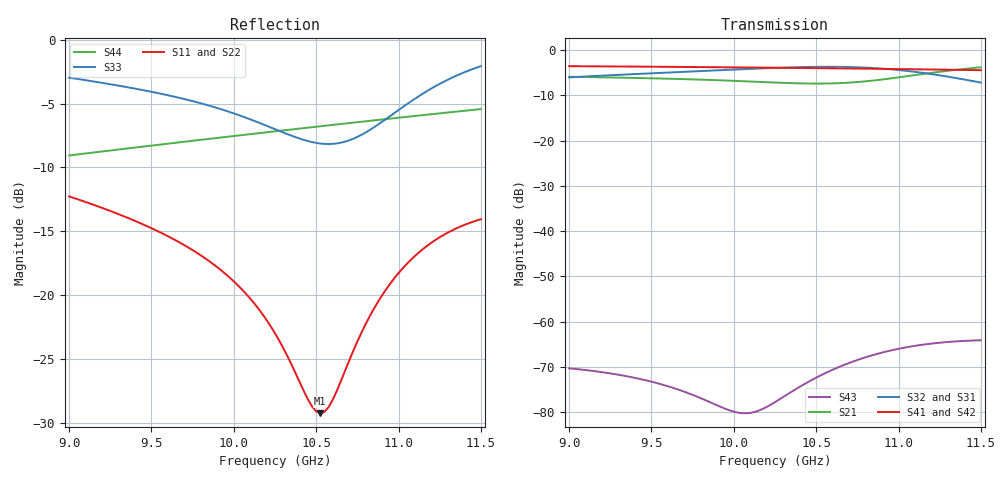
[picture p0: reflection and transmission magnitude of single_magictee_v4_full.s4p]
! Generated from PyAEDT SolutionData; AEDT ExportNetworkData workaround
# GHz S MA R 50
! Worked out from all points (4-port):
!   101 points, 9 GHz to 11.5 GHz, reference 50 ohm
!   strongest paths, dB at 9 GHz, 9.625 GHz, 10.25 GHz, 10.88 GHz, 11.5 GHz:
!     S41: -3.6, -3.7, -3.9, -4.2, -4.5
!     S42: -3.6, -3.7, -3.9, -4.2, -4.5
!     S32: -6.1, -5.0, -4.0, -4.1, -7.2
!     S31: -6.1, -5.0, -4.0, -4.1, -7.2
!     S21: -5.9, -6.4, -7.2, -6.6, -3.8
!     S43: -70.3, -74.5, -77.8, -67.1, -64.1
!   lowest |S11| = -29.2 dB at 10.53 GHz (marker M1), VSWR 1.07, Z = 47.5 - j2.22 ohm
!   |S11| at or under -10 dB: start of sweep to end of sweep
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9  0.2436 137.7  0.5051 177.0  0.4976 -86.9  0.6618 44.9
   0.5051 177.0  0.2436 137.6  0.4977 -86.9  0.6617 -135.1
   0.4976 -86.9  0.4977 -86.9  0.7104 -158.2  0.0003053 -75.7
   0.6618 44.9  0.6617 -135.1  0.0003053 -75.7  0.3524 -113.1
9.4  0.1954 88.0  0.4903 133.0  0.5411 -158.0  0.6547 -0.7
     0.4903 133.0  0.1957 87.9  0.5413 -158.0  0.6544 179.3
     0.5411 -158.0  0.5413 -158.0  0.6436 103.4  0.0002395 -159.5
     0.6547 -0.7  0.6544 179.3  0.0002395 -159.5  0.3784 -155.9
9.775  0.1467 39.3  0.4713 93.8  0.5811 135.7  0.6471 -42.1
       0.4713 93.8  0.1471 39.4  0.5815 135.7  0.6466 137.9
       0.5811 135.7  0.5815 135.7  0.5694 9.7  0.0001492 133.3
       0.6471 -42.1  0.6466 137.9  0.0001492 133.3  0.4039 164.7
10.125  0.09274 -13.7  0.4461 59.9  0.6197 73.0  0.6391 -79.8
        0.4461 59.9  0.09289 -13.3  0.6202 73.0  0.6385 100.2
        0.6197 73.0  0.6202 73.0  0.4809 -83.2  0.0001006 117.9
        0.6391 -79.8  0.6385 100.2  0.0001006 117.9  0.4288 128.5
10.525  0.0345 -137.5  0.4253 27.2  0.6501 -1.6  0.6288 -122.1
        0.4253 27.2  0.0339 -137.8  0.6507 -1.6  0.6281 58.0
        0.6501 -1.6  0.6507 -1.6  0.3924 151.0  0.0002541 77.5
        0.6288 -122.1  0.6281 58.0  0.0002541 77.5  0.4584 87.6
11  0.1221 73.7  0.4982 -7.9  0.5991 -94.5  0.6147 -171.4
    0.4982 -7.9  0.123 73.5  0.5998 -94.5  0.614 8.7
    0.5991 -94.5  0.5998 -94.5  0.5304 -14.2  0.0005018 -25.1
    0.6147 -171.4  0.614 8.7  0.0005018 -25.1  0.4951 39.4
11.5  0.1984 -8.8  0.6435 -57.8  0.4353 171.4  0.5976 137.3
      0.6435 -57.8  0.199 -8.5  0.4357 171.4  0.5971 -42.6
      0.4353 171.4  0.4357 171.4  0.7879 -150.4  0.0006233 -137.2
      0.5976 137.3  0.5971 -42.6  0.0006233 -137.2  0.5351 -11.2
